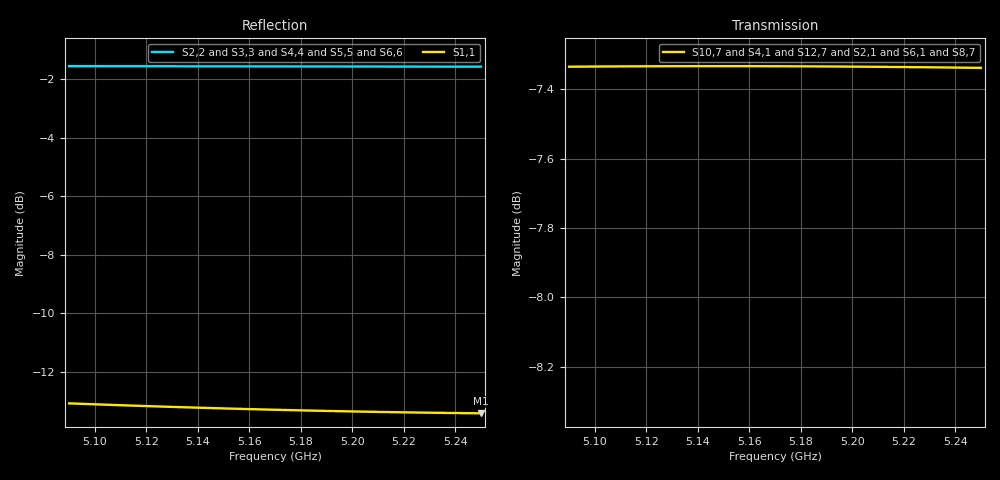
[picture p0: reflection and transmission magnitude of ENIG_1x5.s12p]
! Touchstone file exported from HFSS 2024.2.0
!  File:  D:/dev/EMBRAER/P1H/R05_Correcao/enig/1x5/ENIG_1x5.aedt
!  Generated:  11:17:21 AM Nov  7, 2026
!  Design:  Duplo_radial
!  Project:  ENIG_1x5
!  Setup:  Divisor
!  Solution:  Banda
# GHz S RI R 50.000000
! Terminal data exported
! Port[1] = A_IN
! Port[2] = A1
! Port[3] = A2
! Port[4] = A3
! Port[5] = A4
! Port[6] = A5
! Port[7] = B_IN
! Port[8] = B1
! Port[9] = B2
! Port[10] = B3
! Port[11] = B4
! Port[12] = B5
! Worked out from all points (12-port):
!   17 points, 5.09 GHz to 5.25 GHz, reference 50 ohm
!   strongest paths, dB at 5.09 GHz, 5.13 GHz, 5.17 GHz, 5.21 GHz, 5.25 GHz:
!     S10,7: -7.3, -7.3, -7.3, -7.3, -7.3
!     S4,1: -7.3, -7.3, -7.3, -7.3, -7.3
!     S12,7: -7.4, -7.3, -7.3, -7.3, -7.3
!     S2,1: -7.4, -7.3, -7.3, -7.3, -7.3
!     S6,1: -7.4, -7.3, -7.3, -7.3, -7.3
!     S8,7: -7.4, -7.4, -7.3, -7.3, -7.3
!   lowest |S11| = -13.4 dB at 5.25 GHz (marker M1), VSWR 1.54, Z = 58.6 - j22 ohm
!   |S11| at or under -10 dB: start of sweep to end of sweep
